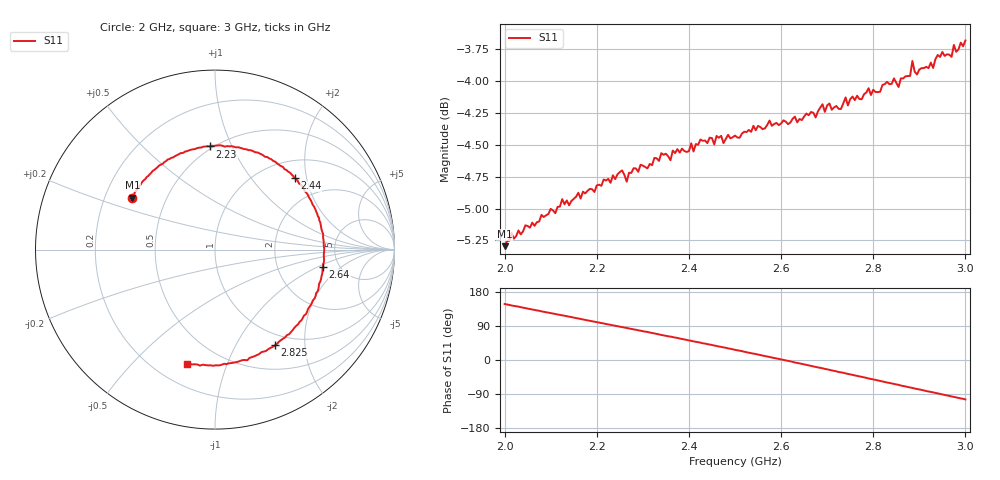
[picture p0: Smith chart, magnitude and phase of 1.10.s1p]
!Agilent Technologies,E8364A,US41440144,A.06.04.32
!Agilent E8364A: A.06.04.32
!Date: Friday, February 02, 2018 10:16:32
!Correction: S11(Full 2 Port(1,2))
!S1P File: Measurement: S11:
# Hz S  dB  R 50
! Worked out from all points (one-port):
!   201 points, 2 GHz to 3 GHz, reference 50 ohm
!   lowest |S11| = -5.3 dB at 2 GHz (marker M1), VSWR 3.38, Z = 15.9 + j13.1 ohm
!   |S11| at or under -10 dB: nowhere
!   S11 on the Smith chart (normalised r, x): 2 GHz: 0.32, +0.26; 2.23 GHz: 0.48, +0.83; 2.44 GHz: 1.38, +1.70; 2.64 GHz: 3.75, -1.14; 2.825 GHz: 0.83, -1.46; 3 GHz: 0.33, -0.73
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2e9  -5.29 147.8
2.045e9  -5.13 137.1
2.08e9  -5.05 128.4
2.125e9  -4.93 117.6
2.185e9  -4.85 103.4
2.23e9  -4.80 92.7
2.25e9  -4.72 88.2
2.28e9  -4.68 81.0
2.325e9  -4.60 70.1
2.375e9  -4.54 58.3
2.43e9  -4.47 44.0
2.44e9  -4.49 41.9
2.47e9  -4.43 34.6
2.5e9  -4.43 26.9
2.54e9  -4.35 17.0
2.575e9  -4.31 8.0
2.625e9  -4.30 -4.8
2.64e9  -4.30 -9.1
2.69e9  -4.19 -21.8
2.75e9  -4.15 -38.0
2.79e9  -4.06 -48.8
2.825e9  -4.03 -58.0
2.875e9  -3.96 -71.3
2.885e9  -3.85 -73.7
2.895e9  -3.95 -76.5
2.94e9  -3.80 -88.0
2.975e9  -3.72 -97.4
3e9  -3.69 -104.0
